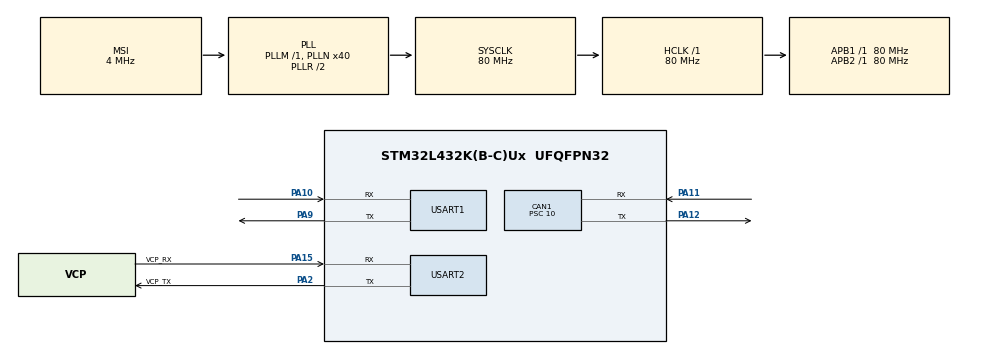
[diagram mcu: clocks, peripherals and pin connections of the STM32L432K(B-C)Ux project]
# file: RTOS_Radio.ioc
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CAN1.BS1=CAN_BS1_12TQ
CAN1.BS2=CAN_BS2_3TQ
CAN1.CalculateTimeBit=2000
CAN1.CalculateTimeQuantum=125.0
CAN1.Prescaler=10
CAN1.SJW=CAN_SJW_3TQ
Dma.Request0=USART2_RX
Dma.Request1=USART2_TX
Dma.Request2=USART1_RX
Dma.Request3=USART1_TX
Dma.USART1_RX.2.Direction=DMA_PERIPH_TO_MEMORY
Dma.USART1_RX.2.Instance=DMA1_Channel5
Dma.USART1_RX.2.MemDataAlignment=DMA_MDATAALIGN_BYTE
Dma.USART1_RX.2.MemInc=DMA_MINC_ENABLE
Dma.USART1_RX.2.Mode=DMA_CIRCULAR
Dma.USART1_RX.2.PeriphDataAlignment=DMA_PDATAALIGN_BYTE
Dma.USART1_RX.2.PeriphInc=DMA_PINC_DISABLE
Dma.USART1_RX.2.Priority=DMA_PRIORITY_VERY_HIGH
Dma.USART1_TX.3.Direction=DMA_MEMORY_TO_PERIPH
Dma.USART1_TX.3.Instance=DMA1_Channel4
Dma.USART1_TX.3.MemDataAlignment=DMA_MDATAALIGN_BYTE
Dma.USART1_TX.3.MemInc=DMA_MINC_ENABLE
Dma.USART1_TX.3.Mode=DMA_NORMAL
Dma.USART1_TX.3.PeriphDataAlignment=DMA_PDATAALIGN_BYTE
Dma.USART1_TX.3.PeriphInc=DMA_PINC_DISABLE
Dma.USART1_TX.3.Priority=DMA_PRIORITY_HIGH
Dma.USART2_RX.0.Direction=DMA_PERIPH_TO_MEMORY
Dma.USART2_RX.0.Instance=DMA1_Channel6
Dma.USART2_RX.0.MemDataAlignment=DMA_MDATAALIGN_BYTE
Dma.USART2_RX.0.MemInc=DMA_MINC_ENABLE
Dma.USART2_RX.0.Mode=DMA_CIRCULAR
Dma.USART2_RX.0.PeriphDataAlignment=DMA_PDATAALIGN_BYTE
Dma.USART2_RX.0.PeriphInc=DMA_PINC_DISABLE
Dma.USART2_RX.0.Priority=DMA_PRIORITY_HIGH
Dma.USART2_TX.1.Direction=DMA_MEMORY_TO_PERIPH
Dma.USART2_TX.1.Instance=DMA1_Channel7
Dma.USART2_TX.1.MemDataAlignment=DMA_MDATAALIGN_BYTE
Dma.USART2_TX.1.MemInc=DMA_MINC_ENABLE
Dma.USART2_TX.1.Mode=DMA_NORMAL
Dma.USART2_TX.1.PeriphDataAlignment=DMA_PDATAALIGN_BYTE
Dma.USART2_TX.1.PeriphInc=DMA_PINC_DISABLE
Dma.USART2_TX.1.Priority=DMA_PRIORITY_MEDIUM
FREERTOS.INCLUDE_eTaskGetState=1
FREERTOS.INCLUDE_xQueueGetMutexHolder=1
FREERTOS.INCLUDE_xSemaphoreGetMutexHolder=1
FREERTOS.INCLUDE_xTaskGetCurrentTaskHandle=1
FREERTOS.Mutexes01=sttswrdMtx
FREERTOS.Queues01=CanTxBuf,8,Can_frame_t,NULL;RadTxBuf,8,Can_frame_core_t,NULL
FREERTOS.Tasks01=Rad_Tx,-2,256,doRadTx,Default;Can_Tx,-1,256,doCanTx,Default;Rad_Rx,0,256,doRadRx,Default
FREERTOS.Timers01=WWDGTmr,TmrKickDog,osTimerPeriodic,Default;HBTmr,TmrSendHB,osTimerPeriodic,Default
FREERTOS.configMAX_PRIORITIES=7
FREERTOS.configTIMER_TASK_PRIORITY=6
FREERTOS.configTOTAL_HEAP_SIZE=32786
FREERTOS.configUSE_TASK_NOTIFICATIONS=0
FREERTOS.configUSE_TIMERS=1
Mcu.Family=STM32L4
Mcu.Name=STM32L432K(B-C)Ux
Mcu.Package=UFQFPN32
NVIC.CAN1_RX0_IRQn=true\:5\:0\:true\:false\:true\:true
NVIC.CAN1_RX1_IRQn=true\:5\:0\:true\:false\:true\:true
NVIC.CAN1_SCE_IRQn=true\:5\:0\:true\:false\:true\:true
NVIC.CAN1_TX_IRQn=true\:5\:0\:true\:false\:true\:true
NVIC.DMA1_Channel4_IRQn=true\:5\:0\:false\:false\:true\:true
NVIC.DMA1_Channel5_IRQn=true\:5\:0\:false\:false\:true\:true
NVIC.DMA1_Channel6_IRQn=true\:5\:0\:false\:false\:true\:true
NVIC.DMA1_Channel7_IRQn=true\:5\:0\:false\:false\:true\:true
NVIC.PriorityGroup=NVIC_PRIORITYGROUP_4
NVIC.TIM6_DAC_IRQn=true\:0\:0\:false\:false\:true\:false
NVIC.TimeBase=TIM6_DAC_IRQn
NVIC.TimeBaseIP=TIM6
NVIC.USART1_IRQn=true\:5\:0\:false\:false\:true\:true
NVIC.USART2_IRQn=true\:5\:0\:false\:false\:true\:true
PA10.Mode=Asynchronous
PA10.Signal=USART1_RX
PA11.Mode=Master
PA11.Signal=CAN1_RX
PA12.Mode=Master
PA12.Signal=CAN1_TX
PA13\ (JTMS-SWDIO).Mode=Serial_Wire
PA13\ (JTMS-SWDIO).Signal=SYS_JTMS-SWDIO
PA14\ (JTCK-SWCLK).Mode=Serial_Wire
PA14\ (JTCK-SWCLK).Signal=SYS_JTCK-SWCLK
PA15\ (JTDI).GPIO_Label=VCP_RX
PA15\ (JTDI).Mode=Asynchronous
PA15\ (JTDI).Signal=USART2_RX
PA2.GPIO_Label=VCP_TX
PA2.Mode=Asynchronous
PA2.Signal=USART2_TX
PA9.Mode=Asynchronous
PA9.Signal=USART1_TX
ProjectManager.HeapSize=0x200
ProjectManager.StackSize=0x400
ProjectManager.TargetToolchain=SW4STM32
RCC.AHBFreq_Value=80000000
RCC.APB1Freq_Value=80000000
RCC.APB1TimFreq_Value=80000000
RCC.APB2Freq_Value=80000000
RCC.APB2TimFreq_Value=80000000
RCC.CortexFreq_Value=80000000
RCC.HCLKFreq_Value=80000000
RCC.HSE_VALUE=8000000
RCC.HSI16_VALUE=16000000
RCC.HSI48_VALUE=48000000
RCC.HSI_VALUE=16000000
RCC.LSE_VALUE=32768
RCC.MSI_VALUE=4000000
RCC.PLLMUL=RCC_PLLMUL_4
RCC.PLLN=40
RCC.SYSCLKFreq_VALUE=80000000
RCC.SYSCLKSource=RCC_SYSCLKSOURCE_PLLCLK
RCC.VCOOutputFreq_Value=160000000
USART2.WordLength=UART_WORDLENGTH_8B
VP_FREERTOS_VS_ENABLE.Mode=Enabled
VP_RTC_VS_RTC_Activate.Mode=RTC_Enabled
VP_RTC_VS_RTC_Calendar.Mode=RTC_Calendar
VP_SYS_VS_tim6.Mode=TIM6
VP_WWDG_VS_WWDG.Mode=WWDG_Activate
WWDG.Counter=127
WWDG.Prescaler=WWDG_PRESCALER_8
WWDG.Window=127
board=NUCLEO-L432KC

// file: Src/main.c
/**
  ******************************************************************************
  * File Name          : main.c
  * Description        : Main program body
  ******************************************************************************
  *
  * Copyright (c) 2016 STMicroelectronics International N.V.
  * All rights reserved.
  *
  * Redistribution and use in source and binary forms, with or without
  * modification, are permitted, provided that the following conditions are met:
  *
  * 1. Redistribution of source code must retain the above copyright notice,
  *    this list of conditions and the following disclaimer.
  * 2. Redistributions in binary form must reproduce the above copyright notice,
  *    this list of conditions and the following disclaimer in the documentation
  *    and/or other materials provided with the distribution.
  * 3. Neither the name of STMicroelectronics nor the names of other
  *    contributors to this software may be used to endorse or promote products
  *    derived from this software without specific written permission.
  * 4. This software, including modifications and/or derivative works of this
  *    software, must execute solely and exclusively on microcontroller or
  *    microprocessor devices manufactured by or for STMicroelectronics.
  * 5. Redistribution and use of this software other than as permitted under
  *    this license is void and will automatically terminate your rights under
  *    this license.
  *
  * THIS SOFTWARE IS PROVIDED BY STMICROELECTRONICS AND CONTRIBUTORS "AS IS"
  * AND ANY EXPRESS, IMPLIED OR STATUTORY WARRANTIES, INCLUDING, BUT NOT
  * LIMITED TO, THE IMPLIED WARRANTIES OF MERCHANTABILITY, FITNESS FOR A
  * PARTICULAR PURPOSE AND NON-INFRINGEMENT OF THIRD PARTY INTELLECTUAL PROPERTY
  * RIGHTS ARE DISCLAIMED TO THE FULLEST EXTENT PERMITTED BY LAW. IN NO EVENT
  * SHALL STMICROELECTRONICS OR CONTRIBUTORS BE LIABLE FOR ANY DIRECT, INDIRECT,
  * INCIDENTAL, SPECIAL, EXEMPLARY, OR CONSEQUENTIAL DAMAGES (INCLUDING, BUT NOT
  * LIMITED TO, PROCUREMENT OF SUBSTITUTE GOODS OR SERVICES; LOSS OF USE, DATA,
  * OR PROFITS; OR BUSINESS INTERRUPTION) HOWEVER CAUSED AND ON ANY THEORY OF
  * LIABILITY, WHETHER IN CONTRACT, STRICT LIABILITY, OR TORT (INCLUDING
  * NEGLIGENCE OR OTHERWISE) ARISING IN ANY WAY OUT OF THE USE OF THIS SOFTWARE,
  * EVEN IF ADVISED OF THE POSSIBILITY OF SUCH DAMAGE.
  *
  ******************************************************************************
  */
#include "main.h"
#include "stm32l4xx_hal.h"
#include "cmsis_os.h"

/* USER CODE BEGIN Includes */
#include "serial.h"
#include "can.h"
#include "../../CAN_ID.h"

/* USER CODE END Includes */

CAN_HandleTypeDef hcan1;

RTC_HandleTypeDef hrtc;

UART_HandleTypeDef huart1;
UART_HandleTypeDef huart2;
DMA_HandleTypeDef hdma_usart1_rx;
DMA_HandleTypeDef hdma_usart1_tx;
DMA_HandleTypeDef hdma_usart2_rx;
DMA_HandleTypeDef hdma_usart2_tx;

WWDG_HandleTypeDef hwwdg;

osThreadId Rad_TxHandle;
osThreadId Can_TxHandle;
osThreadId Rad_RxHandle;
osMessageQId CanTxBufHandle;
osMessageQId RadTxBufHandle;
osTimerId WWDGTmrHandle;
osTimerId HBTmrHandle;
osMutexId sttswrdMtxHandle;

/* USER CODE BEGIN PV */
/* Private variables ---------------------------------------------------------*/
uint32_t statusWord;
static const uint32_t firmwareVersion = 0x00010203;

/* USER CODE END PV */

void SystemClock_Config(void);
void Error_Handler(void);
static void MX_GPIO_Init(void);
static void MX_DMA_Init(void);
static void MX_CAN1_Init(void);
static void MX_RTC_Init(void);
static void MX_USART1_UART_Init(void);
static void MX_USART2_UART_Init(void);
static void MX_WWDG_Init(void);
void doRadTx(void const * argument);
void doCanTx(void const * argument);
void doRadRx(void const * argument);
void TmrKickDog(void const * argument);
void TmrSendHB(void const * argument);

/* USER CODE BEGIN PFP */
/* Private function prototypes -----------------------------------------------*/
static void (*cleanupCB)();		// System shutdown cleanup callback
static inline void shutdown_routine(void *pt){
	// Don't care about locking the statusWord here since we are in Critical Area
	statusWord &= 0xfffffff8;	// Clear the node status field
	statusWord |= SHUTDOWN;		// Set status to shutdown

	// Send status word indicating node shutdown to CC
	static Can_frame_t newFrame;
	newFrame.isExt = 0;
	newFrame.isRemote = 0;
	newFrame.core.id = radio_SW;
	newFrame.core.dlc = CAN_HB_DLC;
	for(int i=0; i<4; i++){
		newFrame.core.Data[3-i] = (statusWord >> (8*i)) & 0xff;			// Convert uint32_t -> uint8_t
	}

	xQueueSendFromISR(CanTxBufHandle, &newFrame, pdFALSE);
	xQueueSendFromISR(RadTxBufHandle, &newFrame.core, pdFALSE);	// Add this message to the radio queue as well
	HAL_Delay(1);												// 1ms delay to ensure the queue is properly updated before proceeding

	// Loop through CAN Tx buffer to send any pending messages
	while(uxQueueMessagesWaitingFromISR(CanTxBufHandle) != 0){
		while(Can_availableForTx() == 0){	// Wait if bxCAN module is still busy
			HAL_WWDG_Refresh(&hwwdg);		// Since we are in the
			HAL_Delay(1);					// Hard delay to flush CAN tx buffers
		}
		xQueueReceiveFromISR(CanTxBufHandle, &newFrame, pdFALSE);
		Can_sendStd(newFrame.core.id,newFrame.isRemote,newFrame.core.Data,newFrame.core.dlc);
	}

	// Send any pending messages on the radio Tx buffer
	while(uxQueueMessagesWaitingFromISR(RadTxBufHandle) != 0){
		static Can_frame_core_t newCore;
		xQueueReceiveFromISR(RadTxBufHandle, &newCore, pdFALSE);	// Only run the transmit if the queue is non-empty
		static uint8_t radrxmsg[13];
		for(int i=0; i<4; i++){
			radrxmsg[3-i] = (newCore.id >> (8*i)) & 0xff;			// Convert uint32_t -> uint8_t
		}
		radrxmsg[4] = newCore.dlc;
		for(int i=0; i<newCore.dlc; i++){
			radrxmsg[5+i] = newCore.Data[i];
		}
		while(Serial2_availableForWrite() == 0){
			HAL_WWDG_Refresh(&hwwdg);
			HAL_Delay(1);
		}
		Serial2_writeBytes_Async(radrxmsg, newCore.dlc+5, async_Interval);
		HAL_Delay(5);			// Delay for all the data in the radio buffer to be sent
	}

	// Perform shutdown cleanup
	if(pt != NULL){
		cleanupCB = pt;
		cleanupCB();
	}
}

void node_start(){
	if((statusWord & 0x07) == SHUTDOWN) {
#ifdef DEBUG
	static uint8_t msg[] = "Node starting\n";
	Serial2_writeBytes_Async(msg, sizeof(msg)-1,async_Interval);
#endif
		statusWord &= 0xfffffff8;	// Clear the node status field
		statusWord |= INIT;			// Set status to INIT to reestablish handshake with CC
		xTimerStartFromISR(HBTmrHandle, pdFALSE); // Start the CAN heart-beats
	}
}

void node_shutdown(void * pt){
#ifdef DEBUG
	static uint8_t msg[] = "Node shutting down\n";
	Serial2_writeBytes_Async(msg, sizeof(msg)-1,async_Interval);
#endif
	shutdown_routine(pt);		// Flush the queues and send any remaining messages
	// CAN reception must still be maintained to listen on the CAN interface
	xTimerStopFromISR(HBTmrHandle, pdFALSE); // Stop the CAN heart-beats
	// Watchdog timer should not/cannot be stopped or the system will reset
}

/*
 * Soft reset
 * Will broadcast node shutdown and do any necessary cleanups before resetting the system
 */
void node_reset(void * pt){
#ifdef DEBUG
	static uint8_t msg[] = "Node reset issued\n";
	Serial2_writeBytes_Async(msg, sizeof(msg)-1, async_Interval);
#endif
	node_shutdown(pt);
	NVIC_SystemReset();					// CMSIS System reset function
}

void node_hreset(){
#ifdef DEBUG
	static uint8_t msg[] = "Node hard reset issued\n";
	Serial2_writeBytes(msg, sizeof(msg)-1);
#endif
	NVIC_SystemReset();					// CMSIS System reset function
}

void CanRxCallback(){
	static Can_frame_core_t newCore;
	UBaseType_t x = taskENTER_CRITICAL_FROM_ISR();
	// Parse the CAN frame
	newCore.id = (hcan1.pRxMsg->IDE) ? hcan1.pRxMsg->ExtId : hcan1.pRxMsg->StdId;
	newCore.dlc = hcan1.pRxMsg->DLC;
	if(hcan1.pRxMsg->RTR == 0){
		for(int i=0; i<newCore.dlc; i++){
			newCore.Data[i] = hcan1.pRxMsg->Data[i];
		}
	}

	HAL_WWDG_Refresh(&hwwdg);

	if(((statusWord & 0x07) == ACTIVE) || ((statusWord & 0x07) == INIT)) {
		xQueueSendFromISR(RadTxBufHandle, &newCore, pdFALSE);
	}

	if((newCore.id == p2pOffset) || (newCore.id == radio_P2P)){
		// Check if it is a command
		switch(newCore.Data[0]){
		case NODE_RESET:
			node_reset(NULL);
			break;

		case NODE_HRESET:
			node_hreset();
			break;

		case NODE_SHUTDOWN:
			node_shutdown(NULL);
			break;

		case NODE_START:
			node_start();
			break;

		case CC_ACK:
			statusWord &= 0xfffffff8;	// Clear the node status field
			statusWord |= ACTIVE;		// Set status to active
			break;

		case CC_NACK:
			if((statusWord & 0x07) == INIT){
				statusWord &= 0xfffffff8;	// Clear the node status field
				statusWord |= SHUTDOWN;		// Set status to active
			}
			break;
		}
	}
	taskEXIT_CRITICAL_FROM_ISR(x);
}

void cantxcb(){
	static uint8_t txcpltmsg[] = "\nSENT!\n";
	Serial2_writeBytes_Async(txcpltmsg, sizeof(txcpltmsg)-1, async_Interval);
}

/* USER CODE END PFP */

int main(void)
{

  /* USER CODE BEGIN 1 */
	HAL_NVIC_SetPriorityGrouping(NVIC_PRIORITYGROUP_4);	// Cortex-M4F inverted interrupt priority; check FreeRTOS documentation

  /* USER CODE END 1 */

  /* MCU Configuration----------------------------------------------------------*/

  /* Reset of all peripherals, Initializes the Flash interface and the Systick. */
  HAL_Init();

  /* Configure the system clock */
  SystemClock_Config();

  /* Initialize all configured peripherals */
  MX_GPIO_Init();
  MX_DMA_Init();
  MX_CAN1_Init();
  MX_RTC_Init();
  MX_USART1_UART_Init();
  MX_USART2_UART_Init();
  MX_WWDG_Init();

  /* USER CODE BEGIN 2 */
  // Radio startup runonce
  Serial2_begin();
  static uint8_t startmsg[] = "Radio boot\n";
  Serial2_writeBytes(startmsg, sizeof(startmsg)-1);
  statusWord |= INIT;

  Can_begin();
  Can_setRxCallback(CanRxCallback);
#ifdef DEBUG
  Can_setTxCallback(cantxcb);
#endif

  Can_addMaskedFilterStd(0,0,0); // Catch all CAN ID
  Can_addMaskedFilterExt(0,0,0);

  /* USER CODE END 2 */

  /* Create the mutex(es) */
  /* definition and creation of sttswrdMtx */
  osMutexDef(sttswrdMtx);
  sttswrdMtxHandle = osMutexCreate(osMutex(sttswrdMtx));

  /* Create the timer(s) */
  /* definition and creation of WWDGTmr */
  osTimerDef(WWDGTmr, TmrKickDog);
  WWDGTmrHandle = osTimerCreate(osTimer(WWDGTmr), osTimerPeriodic, NULL);

  /* definition and creation of HBTmr */
  osTimerDef(HBTmr, TmrSendHB);
  HBTmrHandle = osTimerCreate(osTimer(HBTmr), osTimerPeriodic, NULL);

  /* USER CODE BEGIN RTOS_TIMERS */
  /* start timers, add new ones, ... */
  osTimerStart(WWDGTmrHandle, WD_Interval); //must be < 26
  osTimerStart(HBTmrHandle, HB_Interval);
  /* USER CODE END RTOS_TIMERS */

  /* Create the thread(s) */
  /* definition and creation of Rad_Tx */
  osThreadDef(Rad_Tx, doRadTx, osPriorityLow, 0, 256);
  Rad_TxHandle = osThreadCreate(osThread(Rad_Tx), NULL);

  /* definition and creation of Can_Tx */
  osThreadDef(Can_Tx, doCanTx, osPriorityBelowNormal, 0, 256);
  Can_TxHandle = osThreadCreate(osThread(Can_Tx), NULL);

  /* definition and creation of Rad_Rx */
  osThreadDef(Rad_Rx, doRadRx, osPriorityNormal, 0, 256);
  Rad_RxHandle = osThreadCreate(osThread(Rad_Rx), NULL);

  /* Create the queue(s) */
  /* definition and creation of CanTxBuf */
  osMessageQDef(CanTxBuf, 8, Can_frame_t);
  CanTxBufHandle = osMessageCreate(osMessageQ(CanTxBuf), NULL);

  /* definition and creation of RadTxBuf */
  osMessageQDef(RadTxBuf, 8, Can_frame_core_t);
  RadTxBufHandle = osMessageCreate(osMessageQ(RadTxBuf), NULL);

  /* Start scheduler */
  osKernelStart();

  /* We should never get here as control is now taken by the scheduler */

  /* Infinite loop */
  while (1)
  {

  }

}

/** System Clock Configuration
*/
void SystemClock_Config(void)
{

  RCC_OscInitTypeDef RCC_OscInitStruct;
  RCC_ClkInitTypeDef RCC_ClkInitStruct;
  RCC_PeriphCLKInitTypeDef PeriphClkInit;

    /**Initializes the CPU, AHB and APB busses clocks
    */
  RCC_OscInitStruct.OscillatorType = RCC_OSCILLATORTYPE_LSI|RCC_OSCILLATORTYPE_MSI;
  RCC_OscInitStruct.LSIState = RCC_LSI_ON;
  RCC_OscInitStruct.MSIState = RCC_MSI_ON;
  RCC_OscInitStruct.MSICalibrationValue = 0;
  RCC_OscInitStruct.MSIClockRange = RCC_MSIRANGE_6;
  RCC_OscInitStruct.PLL.PLLState = RCC_PLL_ON;
  RCC_OscInitStruct.PLL.PLLSource = RCC_PLLSOURCE_MSI;
  RCC_OscInitStruct.PLL.PLLM = 1;
  RCC_OscInitStruct.PLL.PLLN = 40;
  RCC_OscInitStruct.PLL.PLLP = RCC_PLLP_DIV7;
  RCC_OscInitStruct.PLL.PLLQ = RCC_PLLQ_DIV2;
  RCC_OscInitStruct.PLL.PLLR = RCC_PLLR_DIV2;
  if (HAL_RCC_OscConfig(&RCC_OscInitStruct) != HAL_OK)
  {
    Error_Handler();
  }

    /**Initializes the CPU, AHB and APB busses clocks
    */
  RCC_ClkInitStruct.ClockType = RCC_CLOCKTYPE_HCLK|RCC_CLOCKTYPE_SYSCLK
                              |RCC_CLOCKTYPE_PCLK1|RCC_CLOCKTYPE_PCLK2;
  RCC_ClkInitStruct.SYSCLKSource = RCC_SYSCLKSOURCE_PLLCLK;
  RCC_ClkInitStruct.AHBCLKDivider = RCC_SYSCLK_DIV1;
  RCC_ClkInitStruct.APB1CLKDivider = RCC_HCLK_DIV1;
  RCC_ClkInitStruct.APB2CLKDivider = RCC_HCLK_DIV1;

  if (HAL_RCC_ClockConfig(&RCC_ClkInitStruct, FLASH_LATENCY_4) != HAL_OK)
  {
    Error_Handler();
  }

  PeriphClkInit.PeriphClockSelection = RCC_PERIPHCLK_RTC|RCC_PERIPHCLK_USART1
                              |RCC_PERIPHCLK_USART2;
  PeriphClkInit.Usart1ClockSelection = RCC_USART1CLKSOURCE_PCLK2;
  PeriphClkInit.Usart2ClockSelection = RCC_USART2CLKSOURCE_PCLK1;
  PeriphClkInit.RTCClockSelection = RCC_RTCCLKSOURCE_LSI;
  if (HAL_RCCEx_PeriphCLKConfig(&PeriphClkInit) != HAL_OK)
  {
    Error_Handler();
  }

    /**Configure the main internal regulator output voltage
    */
  if (HAL_PWREx_ControlVoltageScaling(PWR_REGULATOR_VOLTAGE_SCALE1) != HAL_OK)
  {
    Error_Handler();
  }

    /**Configure the Systick interrupt time
    */
  HAL_SYSTICK_Config(HAL_RCC_GetHCLKFreq()/1000);

    /**Configure the Systick
    */
  HAL_SYSTICK_CLKSourceConfig(SYSTICK_CLKSOURCE_HCLK);

  /* SysTick_IRQn interrupt configuration */
  HAL_NVIC_SetPriority(SysTick_IRQn, 15, 0);
}

/* CAN1 init function */
static void MX_CAN1_Init(void)
{

  hcan1.Instance = CAN1;
  hcan1.Init.Prescaler = 10;
  hcan1.Init.Mode = CAN_MODE_NORMAL;
  hcan1.Init.SJW = CAN_SJW_3TQ;
  hcan1.Init.BS1 = CAN_BS1_12TQ;
  hcan1.Init.BS2 = CAN_BS2_3TQ;
  hcan1.Init.TTCM = DISABLE;
  hcan1.Init.ABOM = DISABLE;
  hcan1.Init.AWUM = DISABLE;
  hcan1.Init.NART = DISABLE;
  hcan1.Init.RFLM = DISABLE;
  hcan1.Init.TXFP = DISABLE;
  if (HAL_CAN_Init(&hcan1) != HAL_OK)
  {
    Error_Handler();
  }

}

/* RTC init function */
static void MX_RTC_Init(void)
{

  RTC_TimeTypeDef sTime;
  RTC_DateTypeDef sDate;

    /**Initialize RTC Only
    */
  hrtc.Instance = RTC;
  hrtc.Init.HourFormat = RTC_HOURFORMAT_24;
  hrtc.Init.AsynchPrediv = 127;
  hrtc.Init.SynchPrediv = 255;
  hrtc.Init.OutPut = RTC_OUTPUT_DISABLE;
  hrtc.Init.OutPutRemap = RTC_OUTPUT_REMAP_NONE;
  hrtc.Init.OutPutPolarity = RTC_OUTPUT_POLARITY_HIGH;
  hrtc.Init.OutPutType = RTC_OUTPUT_TYPE_OPENDRAIN;
  if (HAL_RTC_Init(&hrtc) != HAL_OK)
  {
    Error_Handler();
  }

    /**Initialize RTC and set the Time and Date
    */
  sTime.Hours = 0x0;
  sTime.Minutes = 0x0;
  sTime.Seconds = 0x0;
  sTime.DayLightSaving = RTC_DAYLIGHTSAVING_NONE;
  sTime.StoreOperation = RTC_STOREOPERATION_RESET;
  if (HAL_RTC_SetTime(&hrtc, &sTime, RTC_FORMAT_BCD) != HAL_OK)
  {
    Error_Handler();
  }

  sDate.WeekDay = RTC_WEEKDAY_MONDAY;
  sDate.Month = RTC_MONTH_JANUARY;
  sDate.Date = 0x1;
  sDate.Year = 0x0;

  if (HAL_RTC_SetDate(&hrtc, &sDate, RTC_FORMAT_BCD) != HAL_OK)
  {
    Error_Handler();
  }

}

/* USART1 init function */
static void MX_USART1_UART_Init(void)
{

  huart1.Instance = USART1;
  huart1.Init.BaudRate = 115200;
  huart1.Init.WordLength = UART_WORDLENGTH_7B;
  huart1.Init.StopBits = UART_STOPBITS_1;
  huart1.Init.Parity = UART_PARITY_NONE;
  huart1.Init.Mode = UART_MODE_TX_RX;
  huart1.Init.HwFlowCtl = UART_HWCONTROL_NONE;
  huart1.Init.OverSampling = UART_OVERSAMPLING_16;
  huart1.Init.OneBitSampling = UART_ONE_BIT_SAMPLE_DISABLE;
  huart1.AdvancedInit.AdvFeatureInit = UART_ADVFEATURE_NO_INIT;
  if (HAL_UART_Init(&huart1) != HAL_OK)
  {
    Error_Handler();
  }

}

/* USART2 init function */
static void MX_USART2_UART_Init(void)
{

  huart2.Instance = USART2;
  huart2.Init.BaudRate = 115200;
  huart2.Init.WordLength = UART_WORDLENGTH_8B;
  huart2.Init.StopBits = UART_STOPBITS_1;
  huart2.Init.Parity = UART_PARITY_NONE;
  huart2.Init.Mode = UART_MODE_TX_RX;
  huart2.Init.HwFlowCtl = UART_HWCONTROL_NONE;
  huart2.Init.OverSampling = UART_OVERSAMPLING_16;
  huart2.Init.OneBitSampling = UART_ONE_BIT_SAMPLE_DISABLE;
  huart2.AdvancedInit.AdvFeatureInit = UART_ADVFEATURE_NO_INIT;
  if (HAL_UART_Init(&huart2) != HAL_OK)
  {
    Error_Handler();
  }

}

/* WWDG init function */
static void MX_WWDG_Init(void)
{

  hwwdg.Instance = WWDG;
  hwwdg.Init.Prescaler = WWDG_PRESCALER_8;
  hwwdg.Init.Window = 127;
  hwwdg.Init.Counter = 127;
  hwwdg.Init.EWIMode = WWDG_EWI_DISABLE;
  if (HAL_WWDG_Init(&hwwdg) != HAL_OK)
  {
    Error_Handler();
  }

}

static void MX_DMA_Init(void)
{
  /* DMA controller clock enable */
  LL_AHB1_GRP1_EnableClock(LL_AHB1_GRP1_PERIPH_DMA1);

  /* DMA interrupt init */
  /* DMA1_Channel4_IRQn interrupt configuration */
  HAL_NVIC_SetPriority(DMA1_Channel4_IRQn, 5, 0);
  HAL_NVIC_EnableIRQ(DMA1_Channel4_IRQn);
  /* DMA1_Channel5_IRQn interrupt configuration */
  HAL_NVIC_SetPriority(DMA1_Channel5_IRQn, 5, 0);
  HAL_NVIC_EnableIRQ(DMA1_Channel5_IRQn);
  /* DMA1_Channel6_IRQn interrupt configuration */
  HAL_NVIC_SetPriority(DMA1_Channel6_IRQn, 5, 0);
  HAL_NVIC_EnableIRQ(DMA1_Channel6_IRQn);
  /* DMA1_Channel7_IRQn interrupt configuration */
  HAL_NVIC_SetPriority(DMA1_Channel7_IRQn, 5, 0);
  HAL_NVIC_EnableIRQ(DMA1_Channel7_IRQn);

}

/** Configure pins as
        * Analog
        * Input
        * Output
        * EVENT_OUT
        * EXTI
        * Free pins are configured automatically as Analog (this feature is enabled through
        * the Code Generation settings)
*/
static void MX_GPIO_Init(void)
{

  GPIO_InitTypeDef GPIO_InitStruct;

  /* GPIO Ports Clock Enable */
  __HAL_RCC_GPIOC_CLK_ENABLE();
  __HAL_RCC_GPIOA_CLK_ENABLE();
  __HAL_RCC_GPIOB_CLK_ENABLE();
  __HAL_RCC_GPIOH_CLK_ENABLE();

  /*Configure GPIO pins : PC14 PC15 */
  GPIO_InitStruct.Pin = GPIO_PIN_14|GPIO_PIN_15;
  GPIO_InitStruct.Mode = GPIO_MODE_ANALOG;
  GPIO_InitStruct.Pull = GPIO_NOPULL;
  HAL_GPIO_Init(GPIOC, &GPIO_InitStruct);

  /*Configure GPIO pins : PA0 PA1 PA3 PA4
                           PA5 PA6 PA7 PA8 */
  GPIO_InitStruct.Pin = GPIO_PIN_0|GPIO_PIN_1|GPIO_PIN_3|GPIO_PIN_4
                          |GPIO_PIN_5|GPIO_PIN_6|GPIO_PIN_7|GPIO_PIN_8;
  GPIO_InitStruct.Mode = GPIO_MODE_ANALOG;
  GPIO_InitStruct.Pull = GPIO_NOPULL;
  HAL_GPIO_Init(GPIOA, &GPIO_InitStruct);

  /*Configure GPIO pins : PB0 PB1 PB3 PB4
                           PB5 PB6 PB7 */
  GPIO_InitStruct.Pin = GPIO_PIN_0|GPIO_PIN_1|GPIO_PIN_3|GPIO_PIN_4
                          |GPIO_PIN_5|GPIO_PIN_6|GPIO_PIN_7;
  GPIO_InitStruct.Mode = GPIO_MODE_ANALOG;
  GPIO_InitStruct.Pull = GPIO_NOPULL;
  HAL_GPIO_Init(GPIOB, &GPIO_InitStruct);

  /*Configure GPIO pin : PH3 */
  GPIO_InitStruct.Pin = GPIO_PIN_3;
  GPIO_InitStruct.Mode = GPIO_MODE_ANALOG;
  GPIO_InitStruct.Pull = GPIO_NOPULL;
  HAL_GPIO_Init(GPIOH, &GPIO_InitStruct);

}

/* doRadTx function */
void doRadTx(void const * argument)
{

  /* USER CODE BEGIN 5 */
  /* Infinite loop */
  for(;;)
  {
	  // TODO: Add RTC Timestamp (if radio baud rate allows)
	  static Can_frame_core_t newCore;
	  xQueueReceive(RadTxBufHandle, &newCore, portMAX_DELAY);	// Only run the transmit if the queue is non-empty
	  if((statusWord & 0x07) == ACTIVE){
		  static uint8_t radrxmsg[13];
		  for(int i=0; i<4; i++){
			radrxmsg[3-i] = (newCore.id >> (8*i)) & 0xff;			// Convert uint32_t -> uint8_t
		  }
		  radrxmsg[4] = newCore.dlc;
		  for(int i=0; i<newCore.dlc; i++){
			radrxmsg[5+i] = newCore.Data[i];
		  }

		  // TODO: Change the following 4 lines for alternative radio options
		  while(Serial2_availableForWrite()==0){
			osDelay(radTxInterval);
		  }
		  Serial2_writeBytes(radrxmsg, newCore.dlc+5);
	  }
  }
  /* USER CODE END 5 */
}

/* doCanTx function */
void doCanTx(void const * argument)
{
  /* USER CODE BEGIN doCanTx */
  /* Infinite loop */
  for(;;)
  {
	  static Can_frame_t newFrame;
	  xQueueReceive(CanTxBufHandle, &newFrame, portMAX_DELAY);	// Only process CAN Transmissions when the queue is non-empty
	  if (((statusWord & 0x07) == ACTIVE) || ((statusWord & 0x07) == INIT)){
		  while(Can_availableForTx() == 0){	// Wait if bxCAN module is still busy
			  osDelay(canTxInterval);
		  }

		  Can_sendStd(newFrame.core.id,newFrame.isRemote,newFrame.core.Data,newFrame.core.dlc);
  	  }
  }
  /* USER CODE END doCanTx */
}

/* doRadRx function */
void doRadRx(void const * argument)
{
  /* USER CODE BEGIN doRadRx */
  /* Infinite loop */
  for(;;)
  {
	  // TODO: Change this function for alternative radio option
	  static uint8_t mode; //state machine: 0=addr, 1=data
	  static Can_frame_core_t newCore;
	  static int radrxavail;
	  radrxavail = Serial2_available();
	  if(mode==0 && radrxavail>=5){
		  newCore.id = 0;
		  for(int i=0; i<4; i++){
			  newCore.id |= (Serial2_read()<<(8*(3-i)));
		  }
		  newCore.dlc = Serial2_read();
		  mode = 1;
	  }else if(mode==1 && radrxavail>=newCore.dlc){
		  for(int i=0; i<newCore.dlc; i++){
			  newCore.Data[i] = Serial2_read();
		  }
#ifdef DEBUG
	static uint8_t radrxmsg[] = "Radio Rxed\n";
	Serial2_writeBytes_Async(radrxmsg, sizeof(radrxmsg)-1,async_Interval);
#endif
		  mode = 0;
		  xQueueSend(CanTxBufHandle, &newCore, portMAX_DELAY);
	  } else{
		  osDelay(radRxInterval);
	  }
  }
  /* USER CODE END doRadRx */
}

/* TmrKickDog function */
void TmrKickDog(void const * argument)
{
  /* USER CODE BEGIN TmrKickDog */
	taskENTER_CRITICAL();
	HAL_WWDG_Refresh(&hwwdg);
	taskEXIT_CRITICAL();
  /* USER CODE END TmrKickDog */
}

/* TmrSendHB function */
void TmrSendHB(void const * argument)
{
  /* USER CODE BEGIN TmrSendHB */
	static Can_frame_t newFrame;
	if((statusWord & 0x07) == ACTIVE){
		newFrame.isExt = 0;
		newFrame.isRemote = 0;
		xSemaphoreTake(sttswrdMtxHandle, portMAX_DELAY);
		newFrame.core.id = radio_SW;
		xSemaphoreGive(sttswrdMtxHandle);
		newFrame.core.dlc = CAN_HB_DLC;
		for(int i=0; i<4; i++){
			newFrame.core.Data[3-i] = (statusWord >> (8*i)) & 0xff;			// Convert uint32_t -> uint8_t
		}

#ifdef DEBUG
	static uint8_t hbmsg[] = "HB issued\n";
	Serial2_writeBytes_Async(hbmsg, sizeof(hbmsg)-1,async_Interval);
#endif
	} else if ((statusWord & 0x07) == INIT) {
		newFrame.isExt = 0;
		newFrame.isRemote = 0;
		newFrame.core.id = radio_FW;
		newFrame.core.dlc = CAN_FW_DLC;
		for(int i=0; i<4; i++){
			newFrame.core.Data[3-i] = (firmwareVersion >> (8*i)) & 0xff;			// Convert uint32_t -> uint8_t
		}

#ifdef DEBUG
	static uint8_t hbmsg[] = "FW request issued\n";
	Serial2_writeBytes_Async(hbmsg, sizeof(hbmsg)-1,async_Interval);
#endif
	}
	xQueueSendToFront(CanTxBufHandle, &newFrame, 0);
  /* USER CODE END TmrSendHB */
}

void HAL_TIM_PeriodElapsedCallback(TIM_HandleTypeDef *htim)
{
  if (htim->Instance == TIM6) {
    HAL_IncTick();
  }
}

void Error_Handler(void)
{
  while(1)
  {
  }
}

/************************ (C) COPYRIGHT STMicroelectronics *****END OF FILE****/
